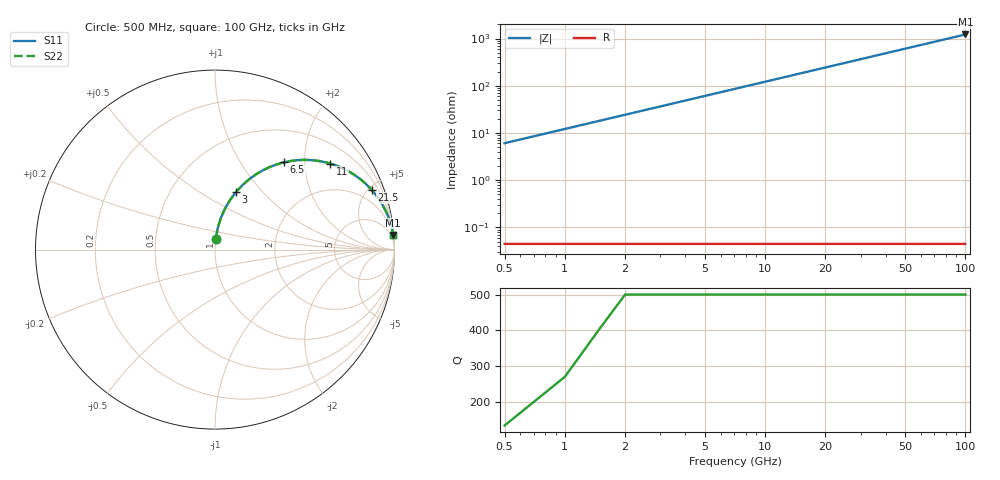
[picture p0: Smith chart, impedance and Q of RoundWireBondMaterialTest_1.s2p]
! File created by SignalIntegrity v1.4.3: Signal and Power Integrity Tools
! https://github.com/Nubis-Communications/SignalIntegrity
! the calculations of this model are from:
! https://www.allaboutcircuits.com/tools/wire-self-inductance-calculator/
# MHz S MA R 50.0
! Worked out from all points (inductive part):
!   200 points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, 500 MHz to 100 GHz, reference 50 ohm
!   read as one part in series: L = 1.94 nH near 1 GHz
!   highest |Z| = 1.22 kohm at 100 GHz (marker M1)
!   S11 on the Smith chart (normalised r, x): 500 MHz: 1.00, +0.12; 3 GHz: 1.00, +0.73; 6.5 GHz: 1.00, +1.58; 11 GHz: 1.00, +2.68; 21.5 GHz: 1.00, +5.23; 100 GHz: 1, +24
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500  0.06073 86.1  0.9977 -3.5  0.9977 -3.5  0.06073 86.1
1000  0.1208 82.9  0.9922 -6.9  0.9922 -6.9  0.1208 82.9
1500  0.1795 79.5  0.9833 -10.3  0.9833 -10.3  0.1795 79.5
2000  0.2364 76.2  0.9712 -13.7  0.9712 -13.7  0.2364 76.2
2500  0.291 73.0  0.9563 -16.9  0.9563 -16.9  0.291 73.0
3000  0.3429 69.9  0.939 -20.1  0.939 -20.1  0.3429 69.9
3500  0.3918 66.9  0.9196 -23.1  0.9196 -23.1  0.3918 66.9
4500  0.4803 61.3  0.8767 -28.7  0.8767 -28.7  0.4803 61.3
5500  0.5562 56.2  0.8307 -33.8  0.8307 -33.8  0.5562 56.2
6500  0.6203 51.6  0.784 -38.3  0.784 -38.3  0.6203 51.6
8500  0.7189 44.0  0.6948 -46.0  0.6948 -46.0  0.7189 44.0
11000  0.8011 36.7  0.5983 -53.2  0.5983 -53.2  0.8011 36.7
14000  0.8624 30.4  0.506 -59.6  0.506 -59.6  0.8624 30.4
17500  0.9052 25.1  0.4249 -64.8  0.4249 -64.8  0.9052 25.1
21500  0.9341 20.9  0.3569 -69.1  0.3569 -69.1  0.9341 20.9
27000  0.9567 16.9  0.2911 -73.1  0.2911 -73.1  0.9567 16.9
34000  0.972 13.6  0.2349 -76.4  0.2349 -76.4  0.972 13.6
42000  0.9814 11.1  0.192 -78.9  0.192 -78.9  0.9814 11.1
50500  0.987 9.2  0.1606 -80.8  0.1606 -80.8  0.987 9.2
67000  0.9926 7.0  0.1217 -83.0  0.1217 -83.0  0.9926 7.0
83500  0.9952 5.6  0.09791 -84.4  0.09791 -84.4  0.9952 5.6
100000  0.9966 4.7  0.08187 -85.3  0.08187 -85.3  0.9966 4.7
